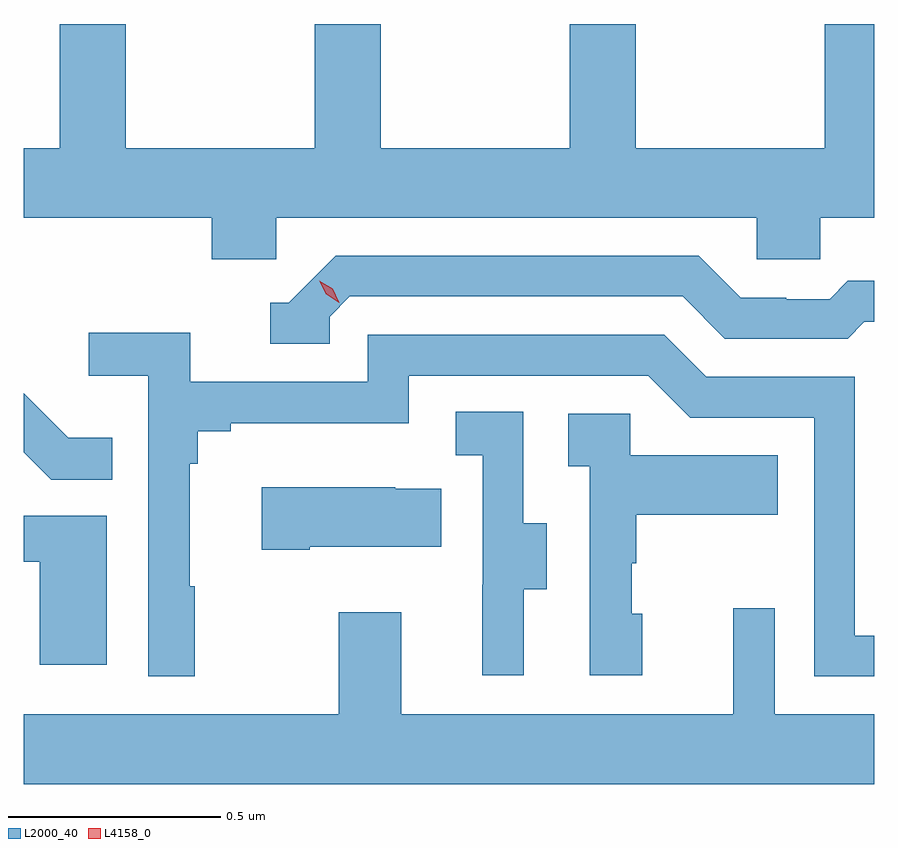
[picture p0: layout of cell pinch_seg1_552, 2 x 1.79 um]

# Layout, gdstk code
import gdstk
lib = gdstk.Library(unit=1e-6, precision=1e-09)
def P(c, l, *ps):  # polygons
    for p in ps: c.add(gdstk.Polygon(p, *l))
L2000_40 = (2000, 40)
L4158_0 = (4158, 0)

pinch_seg1_552 = lib.new_cell('pinch_seg1_552')
P(pinch_seg1_552, L2000_40, [(1033.032,541.076),(1034.163,541.076),(1034.163,540.978),(1034.313,540.978),(1034.313,541.076),(1034.439,541.076),(1034.439,541.532),(1034.323,541.532),(1034.323,541.24),(1033.878,541.24),(1033.878,541.532),(1033.723,541.532),(1033.723,541.24),(1033.278,541.24),(1033.278,541.532),(1033.123,541.532),(1033.123,541.24),(1032.678,541.24),(1032.678,541.532),(1032.523,541.532),(1032.523,541.24),(1032.439,541.24),(1032.439,541.076),(1032.881,541.076),(1032.881,540.978),(1033.032,540.978)],
  [(1033.158,540.843),(1033.206,540.891),(1033.989,540.891),(1034.088,540.792),(1034.377,540.792),(1034.416,540.831),(1034.439,540.831),(1034.439,540.928),(1034.377,540.928),(1034.335,540.885),(1034.232,540.885),(1034.232,540.888),(1034.125,540.888),(1034.026,540.987),(1033.173,540.987),(1033.062,540.876),(1033.019,540.876),(1033.019,540.78),(1033.158,540.78)],
  [(1032.841,540.209),(1032.829,540.209),(1032.829,540.497),(1032.848,540.497),(1032.848,540.574),(1032.925,540.574),(1032.925,540.593),(1033.344,540.593),(1033.344,540.705),(1033.908,540.705),(1034.007,540.606),(1034.298,540.606),(1034.298,539.997),(1034.439,539.997),(1034.439,540.093),(1034.394,540.093),(1034.394,540.702),(1034.044,540.702),(1033.945,540.801),(1033.248,540.801),(1033.248,540.69),(1032.83,540.69),(1032.83,540.806),(1032.591,540.806),(1032.591,540.704),(1032.732,540.704),(1032.732,539.997),(1032.841,539.997)],
  [(1032.647,540.559),(1032.543,540.559),(1032.439,540.663),(1032.439,540.524),(1032.503,540.46),(1032.647,540.46)],
  [(1033.615,540.202),(1033.669,540.202),(1033.669,540.357),(1033.614,540.357),(1033.614,540.62),(1033.455,540.62),(1033.455,540.517),(1033.518,540.517),(1033.518,540.213),(1033.517,540.213),(1033.517,540),(1033.615,540)],
  [(1033.894,540.144),(1033.869,540.144),(1033.869,540.263),(1033.879,540.263),(1033.879,540.377),(1034.213,540.377),(1034.213,540.517),(1033.866,540.517),(1033.866,540.615),(1033.719,540.615),(1033.719,540.491),(1033.77,540.491),(1033.77,540),(1033.894,540)],
  [(1033.111,540.302),(1033.421,540.302),(1033.421,540.439),(1033.313,540.439),(1033.313,540.442),(1032.999,540.442),(1032.999,540.295),(1033.111,540.295)],
  [(1032.634,540.375),(1032.439,540.375),(1032.439,540.267),(1032.476,540.267),(1032.476,540.024),(1032.634,540.024)],
  [(1034.439,539.908),(1034.205,539.908),(1034.205,540.157),(1034.108,540.157),(1034.108,539.908),(1033.327,539.908),(1033.327,540.148),(1033.18,540.148),(1033.18,539.908),(1032.439,539.908),(1032.439,539.744),(1034.439,539.744)])
P(pinch_seg1_552, L4158_0, [(1033.181,540.876),(1033.15,540.896),(1033.134,540.928),(1033.134,540.928),(1033.134,540.928),(1033.165,540.909),(1033.181,540.876),(1033.181,540.876)])

lib.write_gds('pinch_seg1_552.gds')
